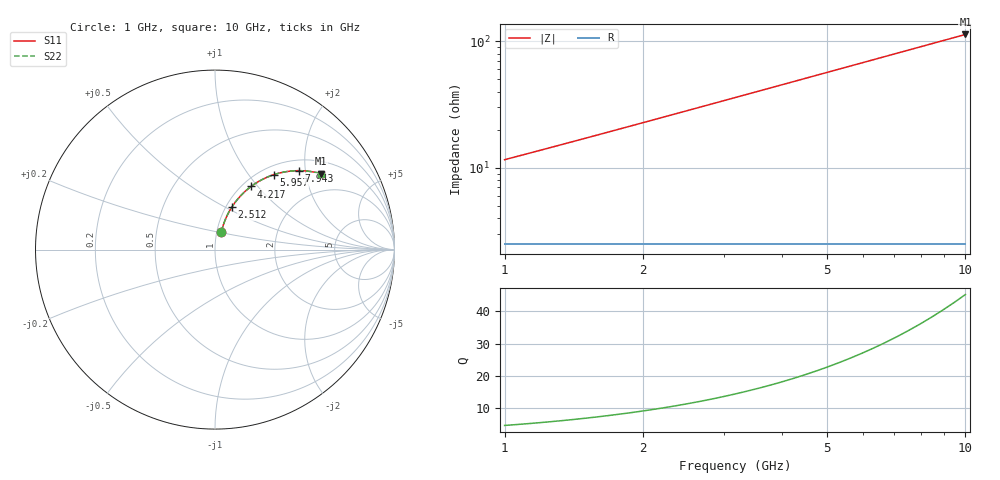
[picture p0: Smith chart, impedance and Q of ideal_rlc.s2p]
! Synthetic ideal circuit; generated by generate_synthetic.py
# Hz S RI R 50
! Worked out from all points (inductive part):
!   41 points, 1 GHz to 10 GHz, reference 50 ohm
!   read as one part in series: L = 1.8 nH near 1 GHz
!   highest Q = 45.2 at 10 GHz (marker M1), where L = 1.8 nH
!   S11 on the Smith chart (normalised r, x): 1 GHz: 1.05, +0.21; 2.512 GHz: 1.07, +0.54; 4.217 GHz: 1.10, +0.92; 5.957 GHz: 1.15, +1.33; 7.943 GHz: 1.23, +1.84; 10 GHz: 1.36, +2.43
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1e9  0.0361 0.1008  0.9638 -0.1121  0.9638 -0.1121  0.0361 0.1008
1.188502e9  0.0409 0.1192  0.959 -0.1326  0.959 -0.1326  0.0409 0.1192
1.333521e9  0.0451 0.1331  0.9548 -0.1482  0.9548 -0.1482  0.0451 0.1331
1.496236e9  0.0503 0.1485  0.9495 -0.1654  0.9495 -0.1654  0.0503 0.1485
1.678804e9  0.0569 0.1655  0.943 -0.1845  0.943 -0.1845  0.0569 0.1655
1.883649e9  0.0649 0.1841  0.9348 -0.2054  0.9348 -0.2054  0.0649 0.1841
2.113489e9  0.075 0.2043  0.9248 -0.2282  0.9248 -0.2282  0.075 0.2043
2.511886e9  0.0945 0.2377  0.9051 -0.2661  0.9051 -0.2661  0.0945 0.2377
2.818383e9  0.1111 0.2617  0.8883 -0.2936  0.8883 -0.2936  0.1111 0.2617
2.985383e9  0.1208 0.2742  0.8786 -0.308  0.8786 -0.308  0.1208 0.2742
3.349654e9  0.143 0.2998  0.8563 -0.3377  0.8563 -0.3377  0.143 0.2998
3.758374e9  0.1696 0.3259  0.8295 -0.3684  0.8295 -0.3684  0.1696 0.3259
4.216965e9  0.201 0.3517  0.7978 -0.3994  0.7978 -0.3994  0.201 0.3517
4.731513e9  0.2377 0.3763  0.7609 -0.4298  0.7609 -0.4298  0.2377 0.3763
5.011872e9  0.2581 0.3879  0.7403 -0.4445  0.7403 -0.4445  0.2581 0.3879
5.623413e9  0.3029 0.4086  0.695 -0.4721  0.695 -0.4721  0.3029 0.4086
5.956621e9  0.3274 0.4174  0.6704 -0.4847  0.6704 -0.4847  0.3274 0.4174
6.683439e9  0.3799 0.4312  0.6173 -0.5067  0.6173 -0.5067  0.3799 0.4312
7.079458e9  0.4078 0.4359  0.589 -0.5158  0.589 -0.5158  0.4078 0.4359
7.943282e9  0.4662 0.4399  0.5298 -0.5295  0.5298 -0.5295  0.4662 0.4399
8.912509e9  0.5269 0.436  0.4681 -0.5365  0.4681 -0.5365  0.5269 0.436
1e10  0.5883 0.4235  0.4053 -0.5363  0.4053 -0.5363  0.5883 0.4235
